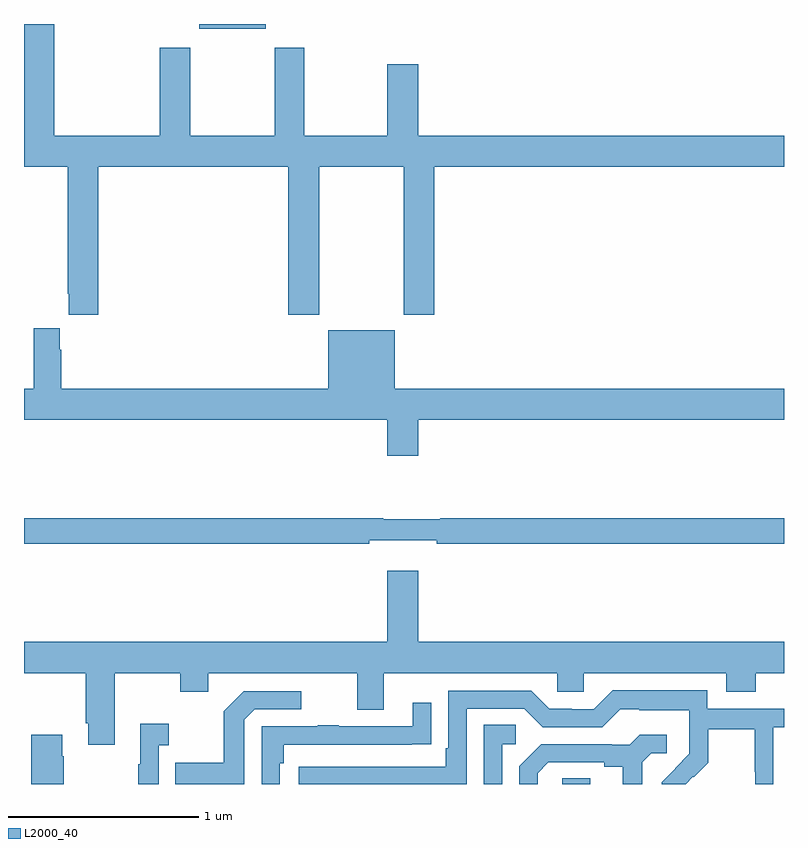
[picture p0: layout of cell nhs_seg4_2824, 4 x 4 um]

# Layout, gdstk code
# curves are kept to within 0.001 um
import gdstk
lib = gdstk.Library(unit=1e-6, precision=1e-09)
def R(c, l, rs):  # rectangles x0, y0, x1, y1
    for r in rs: c.add(gdstk.rectangle(r[:2], r[2:], *l))
def P(c, l, *ps):  # polygons
    for p in ps: c.add(gdstk.Polygon(p, *l))
L2000_40 = (2000, 40)

nhs_seg4_2824 = lib.new_cell('nhs_seg4_2824')
R(nhs_seg4_2824, L2000_40, [(261.834,798.9,261.979,798.929), (259.922,802.874,260.272,802.9)])
P(nhs_seg4_2824, L2000_40, [(259.16,802.9),(259,802.9),(259,802.148),(259.231,802.148),(259.231,801.481),(259.235,801.481),(259.235,801.369),(259.391,801.369),(259.391,802.148),(260.392,802.148),(260.392,801.369),(260.553,801.369),(260.553,802.148),(260.998,802.148),(260.998,801.369),(261.158,801.369),(261.158,802.148),(263,802.148),(263,802.312),(261.076,802.312),(261.076,802.687),(260.912,802.687),(260.912,802.312),(260.475,802.312),(260.475,802.774),(260.32,802.774),(260.32,802.312),(259.875,802.312),(259.875,802.774),(259.715,802.774),(259.715,802.312),(259.16,802.312)],
  [(261.076,800.816),(263,800.816),(263,800.98),(260.95,800.98),(260.95,801.289),(260.6,801.289),(260.6,800.98),(259.196,800.98),(259.196,801.185),(259.189,801.185),(259.189,801.298),(259.052,801.298),(259.052,800.98),(259,800.98),(259,800.816),(260.912,800.816),(260.912,800.628),(261.076,800.628)],
  [(260.816,800.183),(261.172,800.183),(261.172,800.164),(263,800.164),(263,800.3),(261.19,800.3),(261.19,800.293),(260.89,800.293),(260.89,800.3),(259,800.3),(259,800.164),(260.816,800.164)],
  [(259.477,799.484),(259.822,799.484),(259.822,799.385),(259.969,799.385),(259.969,799.484),(260.753,799.484),(260.753,799.29),(260.893,799.29),(260.893,799.484),(261.807,799.484),(261.807,799.386),(261.945,799.386),(261.945,799.484),(262.697,799.484),(262.697,799.385),(262.85,799.385),(262.85,799.484),(263,799.484),(263,799.648),(261.076,799.648),(261.076,800.023),(260.912,800.023),(260.912,799.648),(259,799.648),(259,799.484),(259.325,799.484),(259.325,799.219),(259.337,799.219),(259.337,799.107),(259.477,799.107)],
  [(261.33,799.296),(261.633,799.296),(261.729,799.2),(262.044,799.2),(262.137,799.293),(262.237,799.293),(262.237,799.289),(262.5,799.289),(262.5,799.155),(262.502,799.155),(262.502,799.058),(262.356,798.91),(262.356,798.9),(262.482,798.9),(262.521,798.939),(262.524,798.936),(262.601,799.013),(262.601,799.188),(262.846,799.188),(262.846,798.964),(262.848,798.964),(262.848,798.9),(262.944,798.9),(262.944,799.2),(263,799.2),(263,799.296),(262.596,799.296),(262.596,799.393),(262.099,799.393),(261.999,799.293),(261.884,799.293),(261.884,799.296),(261.765,799.296),(261.669,799.392),(261.234,799.392),(261.234,799.087),(261.221,799.087),(261.221,798.99),(260.445,798.99),(260.445,798.9),(261.33,798.9)],
  [(260.16,799.239),(260.214,799.293),(260.458,799.293),(260.458,799.389),(260.157,799.389),(260.052,799.283),(260.052,799.011),(259.795,799.011),(259.795,798.9),(260.16,798.9)],
  [(260.346,799.01),(260.366,799.01),(260.366,799.107),(261.041,799.107),(261.041,799.108),(261.143,799.108),(261.143,799.327),(261.047,799.327),(261.047,799.203),(260.657,799.203),(260.657,799.208),(260.545,799.208),(260.545,799.203),(260.25,799.203),(260.25,798.9),(260.346,798.9)],
  [(259.71,799.103),(259.762,799.103),(259.762,799.216),(259.613,799.216),(259.613,799.003),(259.602,799.003),(259.602,798.9),(259.71,798.9)],
  [(261.516,799.11),(261.589,799.11),(261.589,799.211),(261.42,799.211),(261.42,798.9),(261.516,798.9)],
  [(261.703,798.957),(261.76,799.014),(262.055,799.014),(262.055,798.992),(262.151,798.992),(262.151,798.9),(262.255,798.9),(262.255,799.015),(262.302,799.062),(262.384,799.062),(262.384,799.159),(262.24,799.159),(262.188,799.107),(262.094,799.107),(262.094,799.11),(261.722,799.11),(261.606,798.994),(261.606,798.9),(261.703,798.9)],
  [(259.209,799.046),(259.201,799.046),(259.201,799.159),(259.039,799.159),(259.039,798.9),(259.209,798.9)])

lib.write_gds('nhs_seg4_2824.gds')
